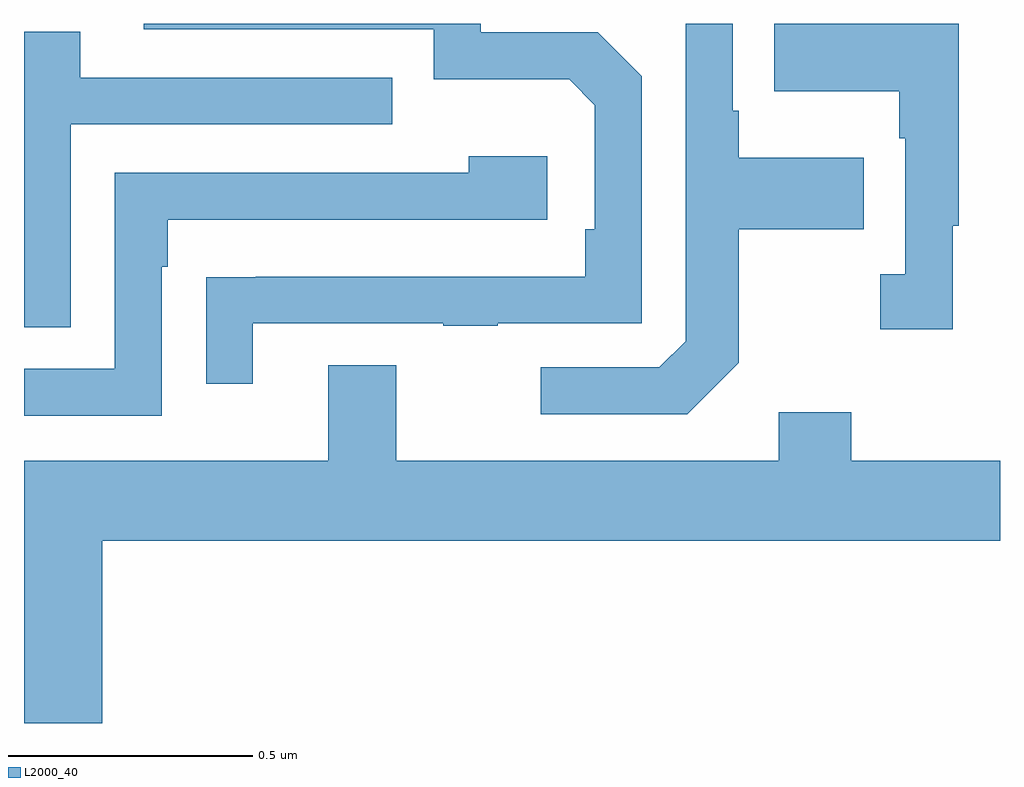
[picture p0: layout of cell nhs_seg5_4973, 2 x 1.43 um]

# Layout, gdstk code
import gdstk
lib = gdstk.Library(unit=1e-6, precision=1e-09)
def P(c, l, *ps):  # polygons
    for p in ps: c.add(gdstk.Polygon(p, *l))
L2000_40 = (2000, 40)

nhs_seg5_4973 = lib.new_cell('nhs_seg5_4973')
P(nhs_seg5_4973, L2000_40, [(177.469,877.185),(177.859,877.185),(177.859,877.18),(177.971,877.18),(177.971,877.185),(178.266,877.185),(178.266,877.692),(178.176,877.782),(177.936,877.782),(177.936,877.799),(177.245,877.799),(177.245,877.788),(177.84,877.788),(177.84,877.685),(178.117,877.685),(178.17,877.632),(178.17,877.378),(178.15,877.378),(178.15,877.281),(177.475,877.281),(177.475,877.28),(177.373,877.28),(177.373,877.062),(177.469,877.062)],
  [(178.903,877.385),(178.915,877.385),(178.915,877.799),(178.537,877.799),(178.537,877.661),(178.794,877.661),(178.794,877.565),(178.806,877.565),(178.806,877.286),(178.755,877.286),(178.755,877.173),(178.903,877.173)],
  [(178.465,877.105),(178.465,877.378),(178.721,877.378),(178.721,877.525),(178.465,877.525),(178.465,877.621),(178.452,877.621),(178.452,877.799),(178.356,877.799),(178.356,877.149),(178.302,877.095),(178.059,877.095),(178.059,876.999),(178.359,876.999)],
  [(177.096,877.593),(177.755,877.593),(177.755,877.689),(177.115,877.689),(177.115,877.783),(177,877.783),(177,877.177),(177.096,877.177)],
  [(177.282,877.301),(177.295,877.301),(177.295,877.398),(178.072,877.398),(178.072,877.528),(177.911,877.528),(177.911,877.494),(177.186,877.494),(177.186,877.092),(177,877.092),(177,876.996),(177.282,876.996)],
  [(177.16,876.74),(179,876.74),(179,876.904),(178.695,876.904),(178.695,877.003),(178.547,877.003),(178.547,876.904),(177.763,876.904),(177.763,877.099),(177.623,877.099),(177.623,876.904),(177,876.904),(177,876.366),(177.16,876.366)])

lib.write_gds('nhs_seg5_4973.gds')
